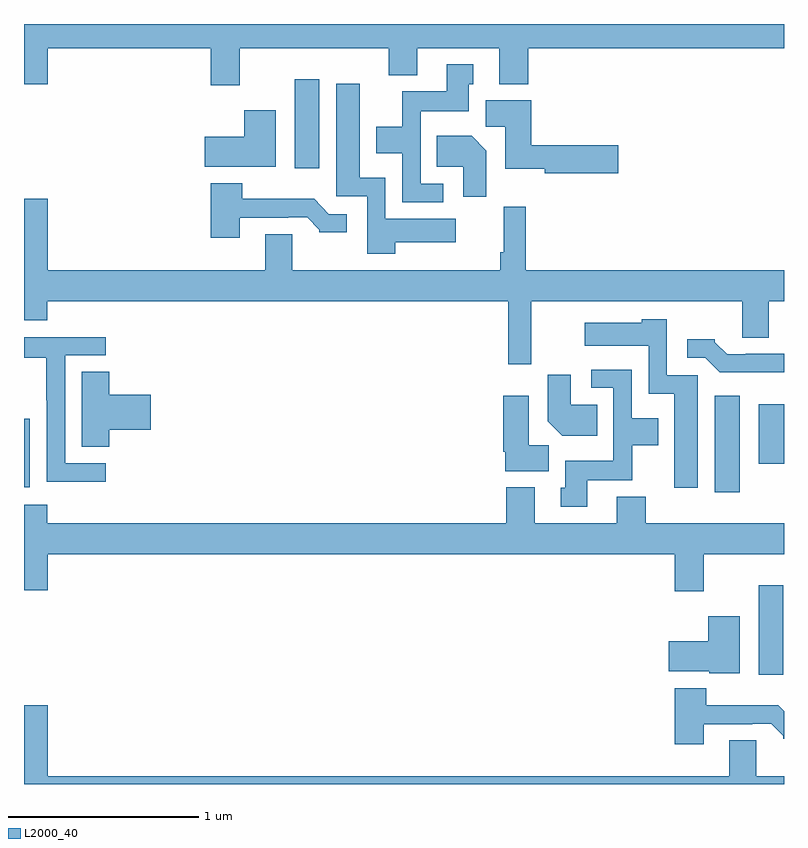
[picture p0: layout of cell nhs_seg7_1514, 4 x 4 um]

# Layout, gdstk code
import gdstk
lib = gdstk.Library(unit=1e-6, precision=1e-09)
def R(c, l, rs):  # rectangles x0, y0, x1, y1
    for r in rs: c.add(gdstk.rectangle(r[:2], r[2:], *l))
def P(c, l, *ps):  # polygons
    for p in ps: c.add(gdstk.Polygon(p, *l))
L2000_40 = (2000, 40)

nhs_seg7_1514 = lib.new_cell('nhs_seg7_1514')
R(nhs_seg7_1514, L2000_40, [(216.866,1074.576,216.997,1075.045), (216.635,1075.536,216.766,1076.044), (213,1075.562,213.031,1075.923), (216.866,1075.685,217,1075.999), (214.424,1077.24,214.555,1077.709)])
P(nhs_seg7_1514, L2000_40, [(213,1077.684),(213.124,1077.684),(213.124,1077.872),(213.983,1077.872),(213.983,1077.678),(214.135,1077.678),(214.135,1077.872),(214.919,1077.872),(214.919,1077.731),(215.071,1077.731),(215.071,1077.872),(215.501,1077.872),(215.501,1077.683),(215.654,1077.683),(215.654,1077.872),(217,1077.872),(217,1078),(213,1078)],
  [(215.206,1077.159),(215.088,1077.159),(215.088,1077.542),(215.341,1077.542),(215.341,1077.684),(215.365,1077.684),(215.365,1077.787),(215.225,1077.787),(215.225,1077.646),(214.99,1077.646),(214.99,1077.46),(214.853,1077.46),(214.853,1077.32),(214.992,1077.32),(214.992,1077.063),(215.206,1077.063)],
  [(214.955,1076.852),(215.272,1076.852),(215.272,1076.974),(214.902,1076.974),(214.902,1077.19),(214.768,1077.19),(214.768,1077.685),(214.643,1077.685),(214.643,1077.093),(214.806,1077.093),(214.806,1076.79),(214.955,1076.79)],
  [(216.127,1077.362),(215.669,1077.362),(215.669,1077.598),(215.429,1077.598),(215.429,1077.46),(215.534,1077.46),(215.534,1077.239),(215.742,1077.239),(215.742,1077.215),(216.127,1077.215)],
  [(214.324,1077.547),(214.16,1077.547),(214.16,1077.406),(213.951,1077.406),(213.951,1077.248),(214.324,1077.248)],
  [(215.434,1077.334),(215.356,1077.412),(215.173,1077.412),(215.173,1077.248),(215.312,1077.248),(215.312,1077.09),(215.434,1077.09)],
  [(214.135,1076.979),(214.391,1076.979),(214.391,1076.982),(214.49,1076.982),(214.554,1076.918),(214.554,1076.903),(214.699,1076.903),(214.699,1077),(214.605,1077),(214.527,1077.079),(214.148,1077.079),(214.148,1077.163),(213.983,1077.163),(213.983,1076.874),(214.135,1076.874)],
  [(215.669,1076.54),(216.779,1076.54),(216.779,1076.35),(216.919,1076.35),(216.919,1076.54),(217,1076.54),(217,1076.704),(215.642,1076.704),(215.642,1077.037),(215.524,1077.037),(215.524,1076.8),(215.506,1076.8),(215.506,1076.704),(214.411,1076.704),(214.411,1076.894),(214.271,1076.894),(214.271,1076.704),(213.124,1076.704),(213.124,1077.079),(213,1077.079),(213,1076.441),(213.122,1076.441),(213.122,1076.54),(215.548,1076.54),(215.548,1076.208),(215.669,1076.208)],
  [(216.547,1076.151),(216.384,1076.151),(216.384,1076.446),(216.252,1076.446),(216.252,1076.428),(215.952,1076.428),(215.952,1076.306),(216.288,1076.306),(216.288,1076.054),(216.422,1076.054),(216.422,1075.56),(216.547,1075.56)],
  [(213.43,1075.689),(213.216,1075.689),(213.216,1076.256),(213.43,1076.256),(213.43,1076.352),(213,1076.352),(213,1076.244),(213.118,1076.244),(213.118,1076.02),(213.12,1076.02),(213.12,1075.591),(213.43,1075.591)],
  [(217,1076.265),(216.799,1076.265),(216.799,1076.262),(216.7,1076.262),(216.636,1076.326),(216.636,1076.341),(216.492,1076.341),(216.492,1076.244),(216.585,1076.244),(216.661,1076.168),(217,1076.168)],
  [(215.965,1075.598),(216.201,1075.598),(216.201,1075.784),(216.337,1075.784),(216.337,1075.924),(216.198,1075.924),(216.198,1076.181),(215.985,1076.181),(215.985,1076.085),(216.102,1076.085),(216.102,1075.702),(215.849,1075.702),(215.849,1075.56),(215.825,1075.56),(215.825,1075.458),(215.965,1075.458)],
  [(213.449,1075.865),(213.667,1075.865),(213.667,1076.048),(213.449,1076.048),(213.449,1076.171),(213.305,1076.171),(213.305,1075.774),(213.449,1075.774)],
  [(216.017,1075.996),(215.878,1075.996),(215.878,1076.155),(215.756,1076.155),(215.756,1075.91),(215.834,1075.832),(216.017,1075.832)],
  [(215.761,1075.784),(215.656,1075.784),(215.656,1076.044),(215.522,1076.044),(215.522,1075.75),(215.534,1075.75),(215.534,1075.646),(215.761,1075.646)],
  [(216.577,1075.208),(217,1075.208),(217,1075.372),(216.272,1075.372),(216.272,1075.513),(216.119,1075.513),(216.119,1075.372),(215.689,1075.372),(215.689,1075.561),(215.537,1075.561),(215.537,1075.372),(213.122,1075.372),(213.122,1075.471),(213,1075.471),(213,1075.02),(213.124,1075.02),(213.124,1075.208),(216.425,1075.208),(216.425,1075.014),(216.577,1075.014)],
  [(216.766,1074.883),(216.602,1074.883),(216.602,1074.751),(216.393,1074.751),(216.393,1074.593),(216.606,1074.593),(216.606,1074.584),(216.766,1074.584)],
  [(216.577,1074.315),(216.833,1074.315),(216.833,1074.318),(216.932,1074.318),(216.996,1074.254),(216.996,1074.239),(217,1074.239),(217,1074.384),(216.969,1074.415),(216.59,1074.415),(216.59,1074.505),(216.425,1074.505),(216.425,1074.21),(216.577,1074.21)],
  [(217,1074.04),(216.853,1074.04),(216.853,1074.23),(216.713,1074.23),(216.713,1074.04),(213.124,1074.04),(213.124,1074.415),(213,1074.415),(213,1074),(217,1074)])

lib.write_gds('nhs_seg7_1514.gds')
